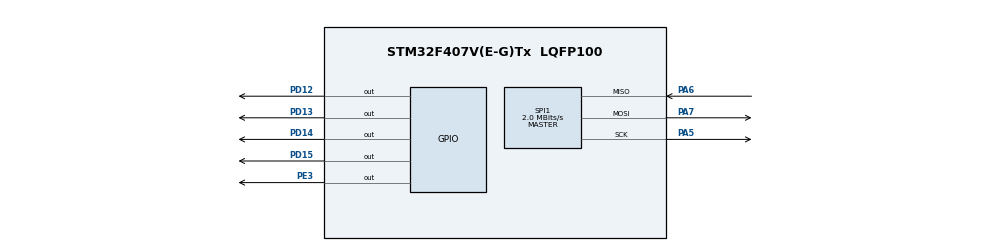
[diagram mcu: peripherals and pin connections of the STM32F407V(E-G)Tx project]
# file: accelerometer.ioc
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Mcu.Family=STM32F4
Mcu.Name=STM32F407V(E-G)Tx
Mcu.Package=LQFP100
NVIC.PriorityGroup=NVIC_PRIORITYGROUP_4
PA5.Mode=Full_Duplex_Master
PA5.Signal=SPI1_SCK
PA6.Mode=Full_Duplex_Master
PA6.Signal=SPI1_MISO
PA7.Mode=Full_Duplex_Master
PA7.Signal=SPI1_MOSI
PD12.Signal=GPIO_Output
PD13.Signal=GPIO_Output
PD14.Signal=GPIO_Output
PD15.Signal=GPIO_Output
PE3.Signal=GPIO_Output
ProjectManager.TargetToolchain=MDK-ARM V5
RCC.AHBFreq_Value=16000000
RCC.APB1Freq_Value=16000000
RCC.APB2Freq_Value=16000000
RCC.CortexFreq_Value=16000000
RCC.HSE_VALUE=25000000
RCC.HSI_VALUE=16000000
RCC.LSE_VALUE=32768
RCC.SYSCLKFreq_VALUE=16000000
RCC.VCOOutputFreq_Value=192000000
SPI1.BaudRatePrescaler=SPI_BAUDRATEPRESCALER_8
SPI1.CalculateBaudRate=2.0 MBits/s
SPI1.Mode=SPI_MODE_MASTER
board=accelerometer

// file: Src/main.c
/**
  ******************************************************************************
  * File Name          : main.c
  * Description        : Main program body
  ******************************************************************************
  *
  * COPYRIGHT(c) 2017 STMicroelectronics
  *
  * Redistribution and use in source and binary forms, with or without modification,
  * are permitted provided that the following conditions are met:
  *   1. Redistributions of source code must retain the above copyright notice,
  *      this list of conditions and the following disclaimer.
  *   2. Redistributions in binary form must reproduce the above copyright notice,
  *      this list of conditions and the following disclaimer in the documentation
  *      and/or other materials provided with the distribution.
  *   3. Neither the name of STMicroelectronics nor the names of its contributors
  *      may be used to endorse or promote products derived from this software
  *      without specific prior written permission.
  *
  * THIS SOFTWARE IS PROVIDED BY THE COPYRIGHT HOLDERS AND CONTRIBUTORS "AS IS"
  * AND ANY EXPRESS OR IMPLIED WARRANTIES, INCLUDING, BUT NOT LIMITED TO, THE
  * IMPLIED WARRANTIES OF MERCHANTABILITY AND FITNESS FOR A PARTICULAR PURPOSE ARE
  * DISCLAIMED. IN NO EVENT SHALL THE COPYRIGHT HOLDER OR CONTRIBUTORS BE LIABLE
  * FOR ANY DIRECT, INDIRECT, INCIDENTAL, SPECIAL, EXEMPLARY, OR CONSEQUENTIAL
  * DAMAGES (INCLUDING, BUT NOT LIMITED TO, PROCUREMENT OF SUBSTITUTE GOODS OR
  * SERVICES; LOSS OF USE, DATA, OR PROFITS; OR BUSINESS INTERRUPTION) HOWEVER
  * CAUSED AND ON ANY THEORY OF LIABILITY, WHETHER IN CONTRACT, STRICT LIABILITY,
  * OR TORT (INCLUDING NEGLIGENCE OR OTHERWISE) ARISING IN ANY WAY OUT OF THE USE
  * OF THIS SOFTWARE, EVEN IF ADVISED OF THE POSSIBILITY OF SUCH DAMAGE.
  *
  ******************************************************************************
  */
#include "stm32f4xx_hal.h"

SPI_HandleTypeDef hspi1;

/* USER CODE BEGIN PV */
/* Private variables ---------------------------------------------------------*/
uint8_t address = 0;
uint8_t data = 0;
uint8_t x_axis_h = 0;
uint8_t x_axis_l = 0;
uint8_t y_axis_h = 0;
uint8_t y_axis_l = 0;
uint8_t z_axis_h = 0;
uint8_t z_axis_l = 0;
int16_t x_real = 0;
int16_t y_real = 0;
int16_t z_real = 0;
uint8_t temperature = 0;
/* USER CODE END PV */

void SystemClock_Config(void);
static void MX_GPIO_Init(void);
static void MX_SPI1_Init(void);

/* USER CODE BEGIN PFP */
/* Private function prototypes -----------------------------------------------*/

/* USER CODE END PFP */

uint8_t SPI_read(uint8_t address)
{
	uint8_t data = 0;
	uint8_t inputAddress = 0;
	inputAddress = address;
	inputAddress |= 0x80; // read mode
	HAL_GPIO_WritePin(GPIOE, GPIO_PIN_3, GPIO_PIN_RESET);
	HAL_SPI_Transmit(&hspi1, &inputAddress, 1, 50);
	HAL_SPI_Receive(&hspi1, &data, 1, 50);
	return data;
}

int main(void)
{

  /* MCU Configuration----------------------------------------------------------*/

  /* Reset of all peripherals, Initializes the Flash interface and the Systick. */
  HAL_Init();

  /* Configure the system clock */
  SystemClock_Config();

  /* Initialize all configured peripherals */
  MX_GPIO_Init();
  MX_SPI1_Init();

  /* USER CODE BEGIN 2 */

	// Activate CS pin of LIS3DSH
	HAL_GPIO_WritePin(GPIOE, GPIO_PIN_3, GPIO_PIN_RESET);
	//transmit address
	address = 0x20;
	HAL_SPI_Transmit(&hspi1, &address, 1, 50);

	// Transmit the data to write to register
	data = 0x67;
	HAL_SPI_Transmit(&hspi1, &data, 1, 50);

	// Bring CS pin high again
	HAL_GPIO_WritePin(GPIOE, GPIO_PIN_3, GPIO_PIN_SET);

  /* USER CODE END 2 */

  /* Infinite loop */
  /* USER CODE BEGIN WHILE */
  while (1)
  {

	// Receive X-axis
	HAL_GPIO_WritePin(GPIOE, GPIO_PIN_3, GPIO_PIN_RESET);

	// address of temp_out
//	address = 0x0C + 0x80;
//	HAL_SPI_Transmit(&hspi1, &address, 1, 50);
//	HAL_SPI_Receive(&hspi1, &data, 1, 50);
//	temperature = data;
//
	//address of X_OUT high, low
	x_axis_h = SPI_read(0x29);
	x_axis_l = SPI_read(0x28);
	x_real = (int16_t)((int16_t)(x_axis_h << 8) | (int16_t)x_axis_l)/197;

	// address of Y_OUT high, low
	y_axis_h = SPI_read(0x2B);
	y_axis_l = SPI_read(0x2A);
	y_real = (int16_t)((int16_t)(y_axis_h << 8) | (int16_t)y_axis_l)/197;

	// address of Z_OUT high, low
	z_axis_h = SPI_read(0x2D);
	z_axis_l = SPI_read(0x2C);
	z_real = (int16_t)((int16_t)(z_axis_h << 8) | (int16_t)z_axis_l)/197;

	// End SPI communication
	HAL_GPIO_WritePin(GPIOE, GPIO_PIN_3, GPIO_PIN_SET);

	// process result by led

	// left
	if(x_real > 20)
	{
		HAL_GPIO_WritePin(GPIOD, GPIO_PIN_14, GPIO_PIN_SET);
	}
	// right
	if(x_real < -20)
	{
		HAL_GPIO_WritePin(GPIOD, GPIO_PIN_12, GPIO_PIN_SET);
	}
	// forward
	if(z_real > 20)
	{
		HAL_GPIO_WritePin(GPIOD, GPIO_PIN_13, GPIO_PIN_SET);
	}
	// backward
	if(z_real < -20)
	{
		HAL_GPIO_WritePin(GPIOD, GPIO_PIN_15, GPIO_PIN_SET);
	}

	// turn off LED
	HAL_Delay(100);

	HAL_GPIO_WritePin(GPIOD, GPIO_PIN_12 | GPIO_PIN_13 | GPIO_PIN_14 | GPIO_PIN_15, GPIO_PIN_RESET);
	temperature = 0;
  }

}

/** System Clock Configuration
*/
void SystemClock_Config(void)
{

  RCC_OscInitTypeDef RCC_OscInitStruct;

  __PWR_CLK_ENABLE();

  __HAL_PWR_VOLTAGESCALING_CONFIG(PWR_REGULATOR_VOLTAGE_SCALE1);

  RCC_OscInitStruct.OscillatorType = RCC_OSCILLATORTYPE_HSI;
  RCC_OscInitStruct.HSIState = RCC_HSI_ON;
  RCC_OscInitStruct.HSICalibrationValue = 16;
  RCC_OscInitStruct.PLL.PLLState = RCC_PLL_NONE;
  HAL_RCC_OscConfig(&RCC_OscInitStruct);

  HAL_SYSTICK_Config(HAL_RCC_GetHCLKFreq()/1000);

  HAL_SYSTICK_CLKSourceConfig(SYSTICK_CLKSOURCE_HCLK);

}

/* SPI1 init function */
void MX_SPI1_Init(void)
{

  hspi1.Instance = SPI1;
  hspi1.Init.Mode = SPI_MODE_MASTER;
  hspi1.Init.Direction = SPI_DIRECTION_2LINES;
  hspi1.Init.DataSize = SPI_DATASIZE_8BIT;
  hspi1.Init.CLKPolarity = SPI_POLARITY_LOW;
  hspi1.Init.CLKPhase = SPI_PHASE_1EDGE;
  hspi1.Init.NSS = SPI_NSS_SOFT;
  hspi1.Init.BaudRatePrescaler = SPI_BAUDRATEPRESCALER_8;
  hspi1.Init.FirstBit = SPI_FIRSTBIT_MSB;
  hspi1.Init.TIMode = SPI_TIMODE_DISABLED;
  hspi1.Init.CRCCalculation = SPI_CRCCALCULATION_DISABLED;
  hspi1.Init.CRCPolynomial = 10;
  HAL_SPI_Init(&hspi1);
	HAL_GPIO_WritePin(GPIOE, GPIO_PIN_3, GPIO_PIN_SET);

}

/** Configure pins as
        * Analog
        * Input
        * Output
        * EVENT_OUT
        * EXTI
*/
void MX_GPIO_Init(void)
{

  GPIO_InitTypeDef GPIO_InitStruct;

  /* GPIO Ports Clock Enable */
  __GPIOE_CLK_ENABLE();
  __GPIOA_CLK_ENABLE();
  __GPIOD_CLK_ENABLE();

  /*Configure GPIO pin : PE3 */
  GPIO_InitStruct.Pin = GPIO_PIN_3;
  GPIO_InitStruct.Mode = GPIO_MODE_OUTPUT_PP;
  GPIO_InitStruct.Pull = GPIO_NOPULL;
  GPIO_InitStruct.Speed = GPIO_SPEED_LOW;
  HAL_GPIO_Init(GPIOE, &GPIO_InitStruct);

  /*Configure GPIO pins : PD12 PD13 PD14 PD15 */
  GPIO_InitStruct.Pin = GPIO_PIN_12|GPIO_PIN_13|GPIO_PIN_14|GPIO_PIN_15;
  GPIO_InitStruct.Mode = GPIO_MODE_OUTPUT_PP;
  GPIO_InitStruct.Pull = GPIO_NOPULL;
  GPIO_InitStruct.Speed = GPIO_SPEED_LOW;
  HAL_GPIO_Init(GPIOD, &GPIO_InitStruct);

}

/************************ (C) COPYRIGHT STMicroelectronics *****END OF FILE****/
